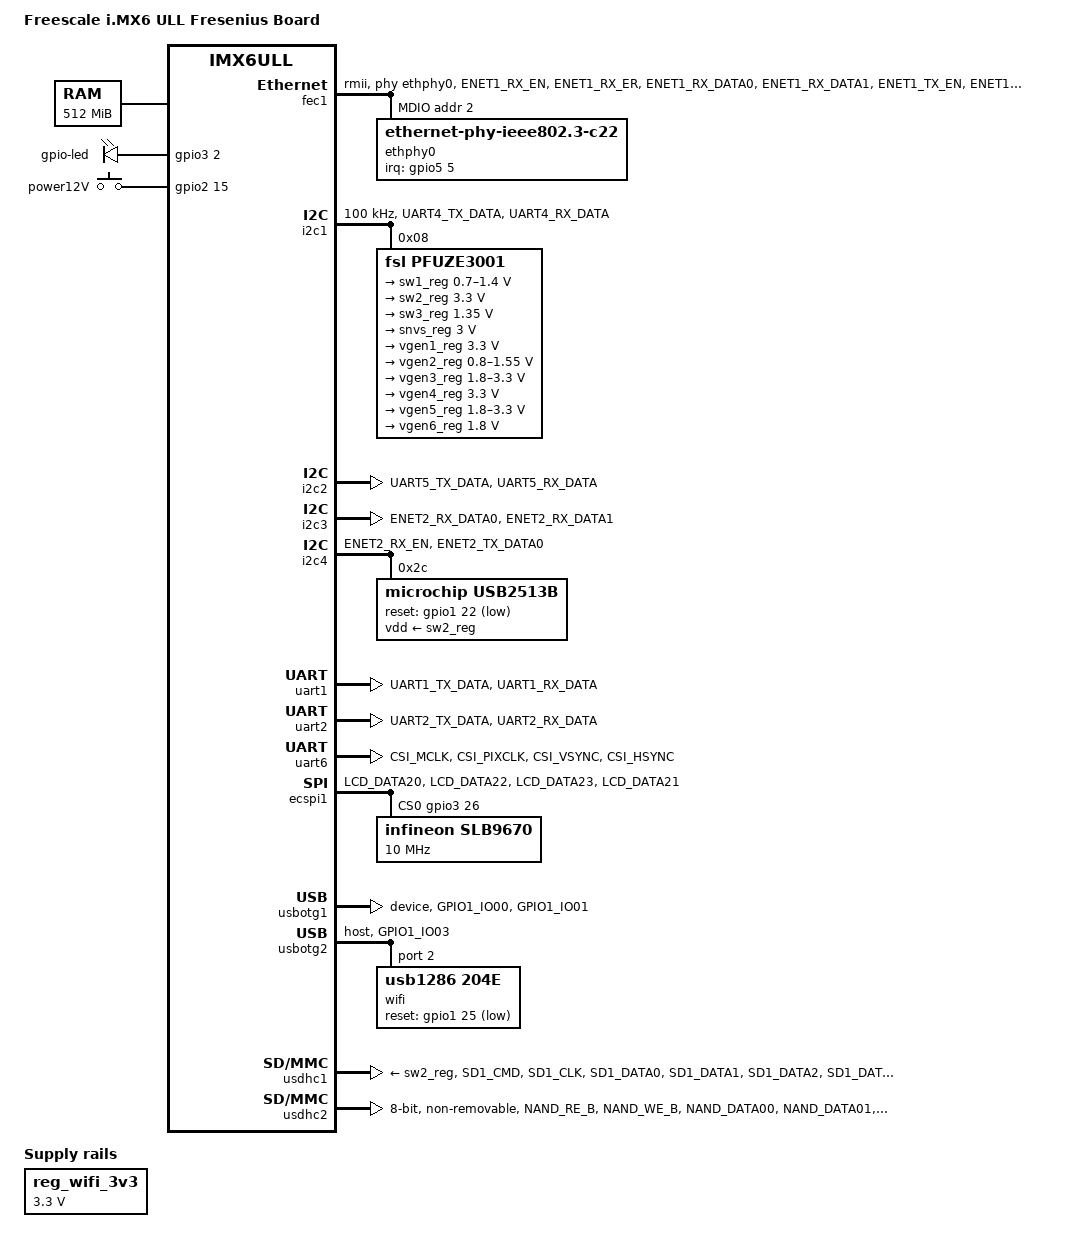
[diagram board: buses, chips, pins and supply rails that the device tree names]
/*
 * Copyright (C) 2020-2023 Wind River Systems, Inc.
 *
 */

/dts-v1/;

#include <dt-bindings/input/input.h>
#include "imx6ull.dtsi"

/ {
	model = "Freescale i.MX6 ULL Fresenius Board";
	compatible = "fsl,imx6ull-14x14-evk", "fsl,imx6ull";

	chosen {
		stdout-path = &uart1;
	};

	memory {
		reg = <0x80000000 0x20000000>;
	};

	reserved-memory {
		#address-cells = <1>;
		#size-cells = <1>;
		ranges;

		linux,cma {
			compatible = "shared-dma-pool";
			reusable;
			size = <0x14000000>;
			linux,cma-default;
		};
	};

	leds {
		compatible = "gpio-leds";
		pinctrl-names = "default";
		pinctrl-0 = <&pinctrl_gpio_leds>;

		led {
			label = "gpio-led";
			gpios = <&gpio3 2 GPIO_ACTIVE_HIGH>;
		};
	};
	
	gpio-keys {
		compatible = "gpio-keys";
		#address-cells = <1>;
		#size-cells = <0>;
		power12V@1 {
				debounce-interval = <50>;
				wakeup-source;
				linux,code = <29>;
				label = "power12V";
				gpios = <&gpio2 15 GPIO_ACTIVE_HIGH>;
		};
	};

	reg_wifi_3v3: regulator-wifi-3v3 {
		compatible = "regulator-fixed";
		regulator-name = "WIFI_3V3";
		regulator-min-microvolt = <3300000>;
		regulator-max-microvolt = <3300000>;
		regulator-always-on;
	};

};

&cpu0 {
	dc-supply = <&sw1_reg>;
};

&clks {
	assigned-clocks = <&clks IMX6UL_CLK_PLL4_AUDIO_DIV>;
	assigned-clock-rates = <786432000>;
};

&fec1 {
	pinctrl-names = "default";
	pinctrl-0 = <&pinctrl_enet1 &pinctrl_enet1_int>;
	phy-mode = "rmii";
	phy-handle = <&ethphy0>;
	status = "okay";

	phy-reset-gpios = <&gpio1 23 GPIO_ACTIVE_LOW>;
	phy-reset-post-delay = <150>;
	phy-reset-duration = <20>;

	mdio {
		#address-cells = <1>;
		#size-cells = <0>;

		ethphy0: ethernet-phy@2 {
			compatible = "ethernet-phy-ieee802.3-c22";
			reg = <2>;
			micrel,led-mode = <1>;
			clocks = <&clks IMX6UL_CLK_ENET_REF>;
			clock-names = "rmii-ref";
			interrupt-parent = <&gpio5>;
			interrupts = <5 IRQ_TYPE_LEVEL_LOW>;
		};
	};
};

&gpc {
	fsl,cpu_pupscr_sw2iso = <0xf>;
	fsl,cpu_pupscr_sw = <0x0>;
	fsl,cpu_pdnscr_iso2sw = <0x1>;
	fsl,cpu_pdnscr_iso = <0x1>;
	fsl,ldo-bypass = <0>; /* DCDC, ldo-enable */
};

&i2c1 {
	clock-frequency = <100000>;
	pinctrl-names = "default";
	pinctrl-0 = <&pinctrl_i2c1>;
	status = "okay";

	pfuze3001: pmic@8 {
		compatible = "fsl,pfuze3001";
		reg = <0x08>;

		regulators {
			sw1_reg: sw1 {
				regulator-min-microvolt = <700000>;
				regulator-max-microvolt = <1400000>;
				regulator-boot-on;
				regulator-always-on;
			};

			sw2_reg: sw2 {
				regulator-min-microvolt = <3300000>;
				regulator-max-microvolt = <3300000>;
				regulator-boot-on;
				regulator-always-on;
			};

			sw3_reg: sw3 {
				regulator-min-microvolt = <1350000>;
				regulator-max-microvolt = <1350000>;
				regulator-boot-on;
				regulator-always-on;
			};

			snvs_reg: vsnvs {
				regulator-min-microvolt = <3000000>;
				regulator-max-microvolt = <3000000>;
				regulator-boot-on;
				regulator-always-on;
			};

			vgen1_reg: vldo1 {
				regulator-min-microvolt = <3300000>;
				regulator-max-microvolt = <3300000>;
				regulator-always-on;
			};

			vgen2_reg: vldo2 {
				regulator-min-microvolt = <800000>;
				regulator-max-microvolt = <1550000>;
			};

			vgen3_reg: vccsd {
				regulator-min-microvolt = <1800000>;
				regulator-max-microvolt = <3300000>;
				regulator-always-on;
			};

			vgen4_reg: v33 {
				regulator-min-microvolt = <3300000>;
				regulator-max-microvolt = <3300000>;
				regulator-always-on;
			};

			vgen5_reg: vldo3 {
				regulator-min-microvolt = <1800000>;
				regulator-max-microvolt = <3300000>;
			};

			vgen6_reg: vldo4 {
				regulator-min-microvolt = <1800000>;
				regulator-max-microvolt = <1800000>;
				regulator-always-on;
			};
		};
	};

};

&i2c2 {
	clock_frequency = <100000>;
	pinctrl-names = "default";
	pinctrl-0 = <&pinctrl_i2c2>;
	status = "okay";
};

&i2c3 {
	clock_frequency = <100000>;
	pinctrl-names = "default";
	pinctrl-0 = <&pinctrl_i2c3>;
	status = "okay";
};

&i2c4 {
	clock_frequency = <100000>;
	pinctrl-names = "default";
	pinctrl-0 = <&pinctrl_i2c4>;
	status = "okay";

	usb2513b: usbhub@2c {
		compatible = "microchip,usb2513b";
		pinctrl-names = "default";
		pinctrl-0 = <&pinctrl_usbhub>;
		vdd-supply = <&sw2_reg>;
		reg = <0x2c>;
		self-powered;
		reset-gpios = <&gpio1 22 GPIO_ACTIVE_LOW>;
		compound-device;
		individual-sensing;
		individual-port-switching;
		non-removable-ports = <2>;
		power-on-time-ms = <10>;
		};
};

&iomuxc {
	pinctrl-names = "default";
	pinctrl-0 = <&pinctrl_hog_1>;
	pinctrl_hog_1: hoggrp-1 {
		fsl,pins = <
			MX6UL_PAD_GPIO1_IO09__GPIO1_IO09        0x17059 /* SD1 RESET */
		>;
	};

	pinctrl_enet1: enet1grp {
		fsl,pins = <
			MX6UL_PAD_ENET1_RX_EN__ENET1_RX_EN	0x1b0b0
			MX6UL_PAD_ENET1_RX_ER__ENET1_RX_ER	0x1b0b0
			MX6UL_PAD_ENET1_RX_DATA0__ENET1_RDATA00	0x1b0b0
			MX6UL_PAD_ENET1_RX_DATA1__ENET1_RDATA01	0x1b0b0
			MX6UL_PAD_ENET1_TX_EN__ENET1_TX_EN	0x1b0b0
			MX6UL_PAD_ENET1_TX_DATA0__ENET1_TDATA00	0x1b0b0
			MX6UL_PAD_ENET1_TX_DATA1__ENET1_TDATA01	0x1b0b0
			MX6UL_PAD_ENET1_TX_CLK__ENET1_REF_CLK1	0x4001b031
			MX6UL_PAD_GPIO1_IO07__ENET1_MDC		0x1b0b0
			MX6UL_PAD_GPIO1_IO06__ENET1_MDIO	0x1b0b0
			MX6UL_PAD_UART2_RTS_B__GPIO1_IO23	0x10a0	/*ENET1_nRST*/
		>;
	};

	pinctrl_i2c1: i2c1grp {
		fsl,pins = <
			MX6UL_PAD_UART4_TX_DATA__I2C1_SCL 0x4001b8b0
			MX6UL_PAD_UART4_RX_DATA__I2C1_SDA 0x4001b8b0
		>;
	};

	pinctrl_i2c2: i2c2grp {
		fsl,pins = <
			MX6UL_PAD_UART5_TX_DATA__I2C2_SCL 0x4001b8b0
			MX6UL_PAD_UART5_RX_DATA__I2C2_SDA 0x4001b8b0
		>;
	};

	pinctrl_i2c3: i2c3grp {
		fsl,pins = <
			MX6UL_PAD_ENET2_RX_DATA0__I2C3_SCL	0x4001b8b0
			MX6UL_PAD_ENET2_RX_DATA1__I2C3_SDA	0x4001b8b0
		>;
	};

	pinctrl_i2c4: i2c4grp {
			fsl,pins = <
				MX6UL_PAD_ENET2_RX_EN__I2C4_SCL	0x4001b8b0
				MX6UL_PAD_ENET2_TX_DATA0__I2C4_SDA	0x4001b8b0
			>;
		};

	pinctrl_uart1: uart1grp {
		fsl,pins = <
			MX6UL_PAD_UART1_TX_DATA__UART1_DCE_TX 0x1b0b1
			MX6UL_PAD_UART1_RX_DATA__UART1_DCE_RX 0x1b0b1
		>;
	};

	pinctrl_uart2: uart2grp {
		fsl,pins = <
			MX6UL_PAD_UART2_TX_DATA__UART2_DCE_TX	0x1b0b1
			MX6UL_PAD_UART2_RX_DATA__UART2_DCE_RX	0x1b0b1
		>;
	};

	pinctrl_uart6: uart6grp {
		fsl,pins = <
			MX6UL_PAD_CSI_MCLK__UART6_DCE_TX	0x1b0b1
			MX6UL_PAD_CSI_PIXCLK__UART6_DCE_RX	0x1b0b1
			MX6UL_PAD_CSI_VSYNC__UART6_DCE_RTS	0x1b0b1
			MX6UL_PAD_CSI_HSYNC__UART6_DCE_CTS	0x1b0b1
		>;
	};

	pinctrl_ecspi1: ecspi1grp {
		fsl,pins = <
			MX6UL_PAD_LCD_DATA20__ECSPI1_SCLK	0x000a0
			MX6UL_PAD_LCD_DATA22__ECSPI1_MOSI	0x000a0
			MX6UL_PAD_LCD_DATA23__ECSPI1_MISO	0x100a0
			MX6UL_PAD_LCD_DATA21__GPIO3_IO26	0x000a0 /*SS0*/
		>;
	};

	pinctrl_usb_otg1: usbotg1grp {
		fsl,pins = <
			MX6UL_PAD_GPIO1_IO00__ANATOP_OTG1_ID	0x17059
			MX6UL_PAD_GPIO1_IO01__USB_OTG1_OC	0x17059
		>;
	};

	pinctrl_usb_otg2: usbotg2grp {
		fsl,pins = <
			MX6UL_PAD_GPIO1_IO03__USB_OTG2_OC	0x17059
		>;
	};

	pinctrl_usdhc1: usdhc1grp {
		fsl,pins = <
			MX6UL_PAD_SD1_CMD__USDHC1_CMD        0x17059
			MX6UL_PAD_SD1_CLK__USDHC1_CLK        0x10071
			MX6UL_PAD_SD1_DATA0__USDHC1_DATA0    0x17059
			MX6UL_PAD_SD1_DATA1__USDHC1_DATA1    0x17059
			MX6UL_PAD_SD1_DATA2__USDHC1_DATA2    0x17059
			MX6UL_PAD_SD1_DATA3__USDHC1_DATA3    0x17059
			MX6UL_PAD_UART1_RTS_B__GPIO1_IO19    0x17059 /* SD1 CD */
			MX6UL_PAD_GPIO1_IO05__USDHC1_VSELECT 0x17059
		>;
	};

	pinctrl_usdhc1_100mhz: usdhc1grp100mhz {
		fsl,pins = <
			MX6UL_PAD_SD1_CMD__USDHC1_CMD     0x170b9
			MX6UL_PAD_SD1_CLK__USDHC1_CLK     0x100b9
			MX6UL_PAD_SD1_DATA0__USDHC1_DATA0 0x170b9
			MX6UL_PAD_SD1_DATA1__USDHC1_DATA1 0x170b9
			MX6UL_PAD_SD1_DATA2__USDHC1_DATA2 0x170b9
			MX6UL_PAD_SD1_DATA3__USDHC1_DATA3 0x170b9
		>;
	};

	pinctrl_usdhc1_200mhz: usdhc1grp200mhz {
		fsl,pins = <
			MX6UL_PAD_SD1_CMD__USDHC1_CMD     0x170f9
			MX6UL_PAD_SD1_CLK__USDHC1_CLK     0x100f9
			MX6UL_PAD_SD1_DATA0__USDHC1_DATA0 0x170f9
			MX6UL_PAD_SD1_DATA1__USDHC1_DATA1 0x170f9
			MX6UL_PAD_SD1_DATA2__USDHC1_DATA2 0x170f9
			MX6UL_PAD_SD1_DATA3__USDHC1_DATA3 0x170f9
		>;
	};


	pinctrl_usdhc2_8bit: usdhc2grp_8bit {
		fsl,pins = <
			MX6UL_PAD_NAND_RE_B__USDHC2_CLK     0x10069
			MX6UL_PAD_NAND_WE_B__USDHC2_CMD     0x17059
			MX6UL_PAD_NAND_DATA00__USDHC2_DATA0 0x17059
			MX6UL_PAD_NAND_DATA01__USDHC2_DATA1 0x17059
			MX6UL_PAD_NAND_DATA02__USDHC2_DATA2 0x17059
			MX6UL_PAD_NAND_DATA03__USDHC2_DATA3 0x17059
			MX6UL_PAD_NAND_DATA04__USDHC2_DATA4 0x17059
			MX6UL_PAD_NAND_DATA05__USDHC2_DATA5 0x17059
			MX6UL_PAD_NAND_DATA06__USDHC2_DATA6 0x17059
			MX6UL_PAD_NAND_DATA07__USDHC2_DATA7 0x17059
		>;
	};

	pinctrl_wifibt: wifibt {
		fsl,pins = <
			MX6UL_PAD_UART3_RX_DATA__GPIO1_IO25	0x90b0
			MX6UL_PAD_UART3_TX_DATA__GPIO1_IO24	0x30b0
		>;
	};

	pinctrl_usbhub: usbhub {
		fsl,pins = <
			MX6UL_PAD_UART2_CTS_B__GPIO1_IO22	0x90b0
		>;
	};

	pinctrl_gpio_leds: gpioledsgrp {
		fsl,pins = <
			MX6UL_PAD_LCD_HSYNC__GPIO3_IO02		0x90b0
		>;
	};
};

&iomuxc_snvs {
	pinctrl-names = "default_snvs";
	pinctrl-0 = <&pinctrl_hog_2>;
	imx6ul-evk {
		pinctrl_hog_2: hoggrp-2 {
			fsl,pins = <
				MX6ULL_PAD_SNVS_TAMPER0__GPIO5_IO00	0x80000000
			>;
		};

		pinctrl_enet1_int: enet1intgrp {
			fsl,pins = <
				MX6ULL_PAD_SNVS_TAMPER5__GPIO5_IO05	0x11 /*ENET1_nINT*/
			>;
		};
	};
};

&uart1 {
	pinctrl-names = "default";
	pinctrl-0 = <&pinctrl_uart1>;
	status = "okay";
};

&uart2 {
	pinctrl-names = "default";
	pinctrl-0 = <&pinctrl_uart2>;
	status = "okay";
};

&uart6 {
	pinctrl-names = "default";
	pinctrl-0 = <&pinctrl_uart6>;
	uart-has-rtscts;
	status = "okay";
};

&ecspi1 {
	pinctrl-names = "default";
	pinctrl-0 = <&pinctrl_ecspi1>;
	cs-gpios = <&gpio3 26 GPIO_ACTIVE_HIGH>;
	status = "okay";

	slb9670@0 {
		compatible = "infineon,slb9670";
		spi-max-frequency = <10000000>;
		reg = <0>;
	};
};

&usbotg1 {
	pinctrl-names = "default";
	pinctrl-0 = <&pinctrl_usb_otg1>;
	dr_mode = "device";
	srp-disable;
	hnp-disable;
	adp-disable;
	over-current-active-low;
	status = "okay";
};

&usbotg2 {
	pinctrl-names = "default";
	pinctrl-0 = <&pinctrl_usb_otg2>;
	dr_mode = "host";
	over-current-active-low;
	status = "okay";

	#address-cells = <1>;
	#size-cells = <0>;

	hub@1 {
		status = "okay";
		#address-cells = <1>;
		#size-cells = <0>;
		reg = <1>;

		wifi@2{
			status = "okay";
			pinctrl-names = "default";
			pinctrl-0 = <&pinctrl_wifibt>;
			compatible = "usb1286,204e";
			reg = <2>;
			reset-gpios = <&gpio1 25 GPIO_ACTIVE_LOW>;
		};
	};
};

&usbphy1 {
	fsl,tx-d-cal = <106>;
};

&usbphy2 {
	fsl,tx-d-cal = <106>;
};

&usdhc1 {
	pinctrl-names = "default", "state_100mhz", "state_200mhz";
	pinctrl-0 = <&pinctrl_usdhc1>;
	pinctrl-1 = <&pinctrl_usdhc1_100mhz>;
	pinctrl-2 = <&pinctrl_usdhc1_200mhz>;
	cd-gpios = <&gpio1 19 GPIO_ACTIVE_LOW>;
	disable-wp;
	keep-power-in-suspend;
	enable-sdio-wakeup;
	vmmc-supply = <&sw2_reg>; /* DCDC_3V3; VCC_SD by controller */
	voltage-ranges = <1700 3400>;
	status = "okay";
};

&usdhc2 {
	pinctrl-names = "default";
	pinctrl-0 = <&pinctrl_usdhc2_8bit>;
	bus-width = <8>;
	non-removable;
	no-1-8-v;
	voltage-ranges = <3200 3400>;
	status = "okay";
};

